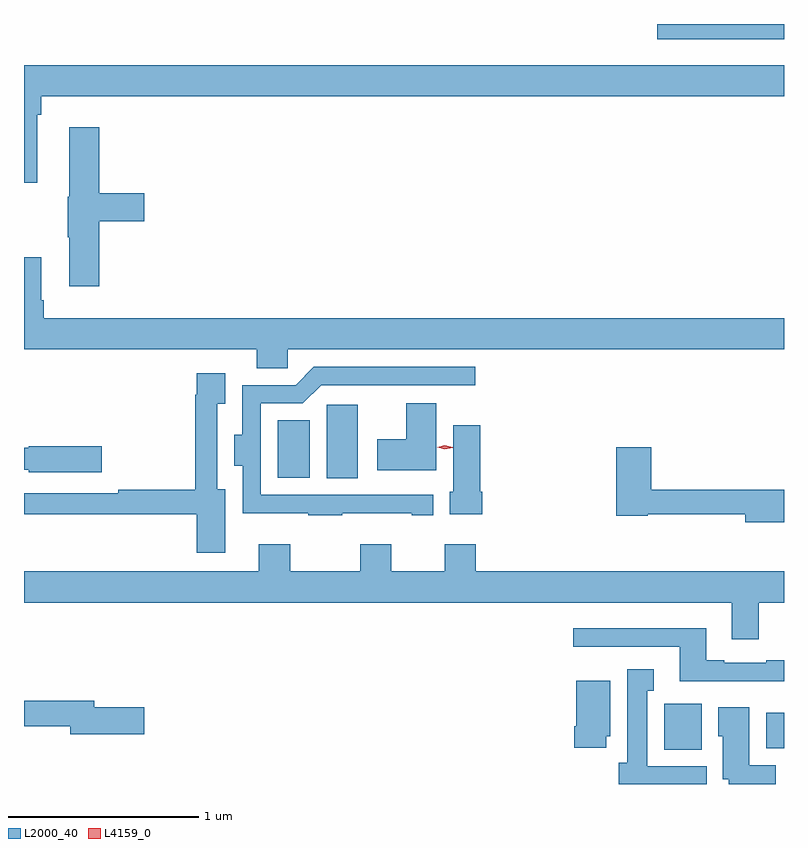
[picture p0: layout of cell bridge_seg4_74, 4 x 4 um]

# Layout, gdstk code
import gdstk
lib = gdstk.Library(unit=1e-6, precision=1e-09)
def R(c, l, rs):  # rectangles x0, y0, x1, y1
    for r in rs: c.add(gdstk.rectangle(r[:2], r[2:], *l))
def P(c, l, *ps):  # polygons
    for p in ps: c.add(gdstk.Polygon(p, *l))
L2000_40 = (2000, 40)
L4159_0 = (4159, 0)

bridge_seg4_74 = lib.new_cell('bridge_seg4_74')
R(bridge_seg4_74, L2000_40, [(409.784,814.694,409.981,814.936), (410.321,814.7,410.415,814.888), (408.008,816.121,408.172,816.508), (407.75,816.125,407.92,816.427), (409.749,818.432,410.415,818.513)])
P(bridge_seg4_74, L2000_40, [(406.486,818.036),(406.505,818.036),(406.505,818.132),(410.415,818.132),(410.415,818.296),(406.415,818.296),(406.415,817.677),(406.486,817.677)],
  [(406.811,817.475),(407.047,817.475),(407.047,817.622),(406.811,817.622),(406.811,817.969),(406.652,817.969),(406.652,817.605),(406.645,817.605),(406.645,817.391),(406.652,817.391),(406.652,817.134),(406.811,817.134)],
  [(407.802,816.8),(410.415,816.8),(410.415,816.964),(406.52,816.964),(406.52,817.06),(406.507,817.06),(406.507,817.285),(406.415,817.285),(406.415,816.8),(407.639,816.8),(407.639,816.702),(407.802,816.702)],
  [(408.089,815.939),(408.455,815.939),(408.455,815.928),(408.568,815.928),(408.568,816.036),(407.661,816.036),(407.661,816.516),(407.883,816.516),(407.979,816.612),(408.79,816.612),(408.79,816.708),(407.94,816.708),(407.844,816.612),(407.564,816.612),(407.564,816.352),(407.522,816.352),(407.522,816.188),(407.565,816.188),(407.565,815.939),(407.911,815.939),(407.911,815.928),(408.089,815.928)],
  [(407.473,816.064),(407.433,816.064),(407.433,816.515),(407.473,816.515),(407.473,816.676),(407.325,816.676),(407.325,816.563),(407.317,816.563),(407.317,816.062),(406.912,816.062),(406.912,816.042),(406.415,816.042),(406.415,815.934),(407.324,815.934),(407.324,815.73),(407.473,815.73)],
  [(408.586,816.517),(408.428,816.517),(408.428,816.328),(408.273,816.328),(408.273,816.164),(408.586,816.164)],
  [(408.827,816.051),(408.815,816.051),(408.815,816.4),(408.674,816.4),(408.674,816.051),(408.656,816.051),(408.656,815.933),(408.827,815.933)],
  [(406.825,816.29),(406.44,816.29),(406.44,816.284),(406.415,816.284),(406.415,816.168),(406.44,816.168),(406.44,816.155),(406.825,816.155)],
  [(410.415,816.062),(409.715,816.062),(409.715,816.286),(409.532,816.286),(409.532,815.926),(409.698,815.926),(409.698,815.934),(410.21,815.934),(410.21,815.891),(410.415,815.891)],
  [(410.281,815.468),(410.415,815.468),(410.415,815.632),(408.793,815.632),(408.793,815.776),(408.629,815.776),(408.629,815.632),(408.349,815.632),(408.349,815.776),(408.185,815.776),(408.185,815.632),(407.815,815.632),(407.815,815.776),(407.651,815.776),(407.651,815.632),(406.415,815.632),(406.415,815.468),(410.141,815.468),(410.141,815.274),(410.281,815.274)],
  [(410.415,815.164),(410.321,815.164),(410.321,815.151),(410.101,815.151),(410.101,815.164),(410.005,815.164),(410.005,815.332),(409.305,815.332),(409.305,815.235),(409.865,815.235),(409.865,815.054),(410.415,815.054)],
  [(410.008,814.606),(409.696,814.606),(409.696,815.003),(409.729,815.003),(409.729,815.116),(409.589,815.116),(409.589,814.626),(409.544,814.626),(409.544,814.513),(410.008,814.513)],
  [(409.48,814.764),(409.501,814.764),(409.501,815.056),(409.322,815.056),(409.322,814.816),(409.31,814.816),(409.31,814.704),(409.48,814.704)],
  [(407.047,814.916),(406.786,814.916),(406.786,814.952),(406.415,814.952),(406.415,814.816),(406.658,814.816),(406.658,814.774),(407.047,814.774)],
  [(410.372,814.612),(410.233,814.612),(410.233,814.918),(410.069,814.918),(410.069,814.764),(410.093,814.764),(410.093,814.538),(410.123,814.538),(410.123,814.513),(410.372,814.513)])
P(bridge_seg4_74, L4159_0, [(408.63,816.275),(408.59,816.286),(408.589,816.286),(408.59,816.286),(408.63,816.295),(408.671,816.285),(408.671,816.284),(408.671,816.284)])

lib.write_gds('bridge_seg4_74.gds')
